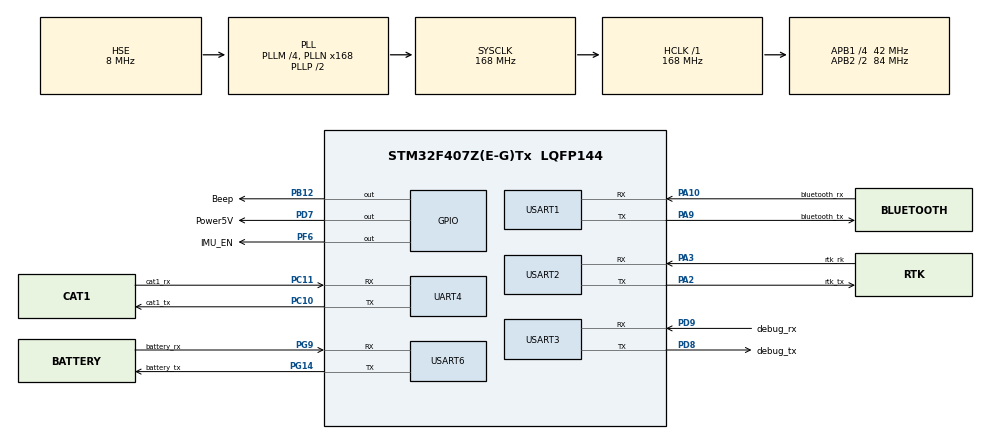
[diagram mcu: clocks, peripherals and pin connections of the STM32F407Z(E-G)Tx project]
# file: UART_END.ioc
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Mcu.Family=STM32F4
Mcu.Name=STM32F407Z(E-G)Tx
Mcu.Package=LQFP144
NVIC.PriorityGroup=NVIC_PRIORITYGROUP_4
NVIC.UART4_IRQn=true\:2\:0\:true\:false\:true\:true\:true\:true
NVIC.USART1_IRQn=true\:1\:0\:true\:false\:true\:true\:true\:true
NVIC.USART2_IRQn=true\:3\:0\:true\:false\:true\:true\:true\:true
NVIC.USART3_IRQn=true\:10\:0\:true\:false\:true\:true\:true\:true
NVIC.USART6_IRQn=true\:4\:0\:true\:false\:true\:true\:true\:true
PA10.GPIO_Label=bluetooth_rx
PA10.Mode=Asynchronous
PA10.Signal=USART1_RX
PA13.Mode=Serial_Wire
PA13.Signal=SYS_JTMS-SWDIO
PA14.Mode=Serial_Wire
PA14.Signal=SYS_JTCK-SWCLK
PA2.GPIO_Label=rtk_tx
PA2.Mode=Asynchronous
PA2.Signal=USART2_TX
PA3.GPIO_Label=rtk_rk
PA3.Mode=Asynchronous
PA3.Signal=USART2_RX
PA9.GPIO_Label=bluetooth_tx
PA9.Mode=Asynchronous
PA9.Signal=USART1_TX
PB12.GPIO_Label=Beep
PB12.Signal=GPIO_Output
PC10.GPIO_Label=cat1_tx
PC10.Mode=Asynchronous
PC10.Signal=UART4_TX
PC11.GPIO_Label=cat1_rx
PC11.Mode=Asynchronous
PC11.Signal=UART4_RX
PC14-OSC32_IN.Mode=LSE-External-Oscillator
PC14-OSC32_IN.Signal=RCC_OSC32_IN
PC15-OSC32_OUT.Mode=LSE-External-Oscillator
PC15-OSC32_OUT.Signal=RCC_OSC32_OUT
PD7.GPIO_Label=Power5V
PD7.Signal=GPIO_Output
PD8.GPIO_Label=debug_tx
PD8.Mode=Asynchronous
PD8.Signal=USART3_TX
PD9.GPIO_Label=debug_rx
PD9.Mode=Asynchronous
PD9.Signal=USART3_RX
PF6.GPIO_Label=IMU_EN
PF6.Signal=GPIO_Output
PG14.GPIO_Label=battery_tx
PG14.Mode=Asynchronous
PG14.Signal=USART6_TX
PG9.GPIO_Label=battery_rx
PG9.Mode=Asynchronous
PG9.Signal=USART6_RX
PH0-OSC_IN.Mode=HSE-External-Oscillator
PH0-OSC_IN.Signal=RCC_OSC_IN
PH1-OSC_OUT.Mode=HSE-External-Oscillator
PH1-OSC_OUT.Signal=RCC_OSC_OUT
ProjectManager.HeapSize=0x200
ProjectManager.StackSize=0x2000
ProjectManager.TargetToolchain=STM32CubeIDE
RCC.48MHZClocksFreq_Value=84000000
RCC.AHBFreq_Value=168000000
RCC.APB1CLKDivider=RCC_HCLK_DIV4
RCC.APB1Freq_Value=42000000
RCC.APB1TimFreq_Value=84000000
RCC.APB2CLKDivider=RCC_HCLK_DIV2
RCC.APB2Freq_Value=84000000
RCC.APB2TimFreq_Value=168000000
RCC.CortexFreq_Value=168000000
RCC.HCLKFreq_Value=168000000
RCC.HSE_VALUE=8000000
RCC.HSI_VALUE=16000000
RCC.PLLM=4
RCC.PLLN=168
RCC.PLLSourceVirtual=RCC_PLLSOURCE_HSE
RCC.SYSCLKFreq_VALUE=168000000
RCC.SYSCLKSource=RCC_SYSCLKSOURCE_PLLCLK
RCC.VCOOutputFreq_Value=336000000
UART4.VirtualMode=Asynchronous
USART1.VirtualMode=VM_ASYNC
USART2.VirtualMode=VM_ASYNC
USART3.VirtualMode=VM_ASYNC
USART6.VirtualMode=VM_ASYNC
board=custom

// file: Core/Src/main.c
/* USER CODE BEGIN Header */
/**
  ******************************************************************************
  * @file           : main.c
  * @brief          : Main program body
  ******************************************************************************
  * @attention
  *
  * Copyright (c) 2023 STMicroelectronics.
  * All rights reserved.
  *
  * This software is licensed under terms that can be found in the LICENSE file
  * in the root directory of this software component.
  * If no LICENSE file comes with this software, it is provided AS-IS.
  *
  ******************************************************************************
  */
/* USER CODE END Header */
#include "main.h"
#include "usart.h"
#include "gpio.h"

/* USER CODE BEGIN Includes */

#include "../../User/uart/uart.h"

/* USER CODE END Includes */

void SystemClock_Config(void);

int main(void)
{

  /* MCU Configuration--------------------------------------------------------*/

  /* Reset of all peripherals, Initializes the Flash interface and the Systick. */
  HAL_Init();

  /* Configure the system clock */
  SystemClock_Config();

  /* Initialize all configured peripherals */
  MX_GPIO_Init();
  MX_UART4_Init();
  MX_USART1_UART_Init();
  MX_USART2_UART_Init();
  MX_USART3_UART_Init();
  MX_USART6_UART_Init();
  /* USER CODE BEGIN 2 */

  HAL_GPIO_WritePin(IMU_EN_GPIO_Port, IMU_EN_Pin, GPIO_PIN_SET);
  HAL_GPIO_WritePin(Power5V_GPIO_Port, Power5V_Pin, GPIO_PIN_SET);

  driver_uart_init();

  debug_printf("OK\r\n");
  /* USER CODE END 2 */

  /* Infinite loop */
  while (1)
  {

    /* USER CODE BEGIN 3 */

	  if(ble.rx_finish == true)
	  {
		  fifo_read(ble.rx_fifo, ble.rx_buff, ble.rx_count);
		  ble_printf("%s",ble.rx_buff);
		  driver_uart_rx_clear(&ble);
	  }
	  else if(rtk.rx_finish == true)
	  {
		  fifo_read(rtk.rx_fifo, rtk.rx_buff, rtk.rx_count);
		  rtk_printf("%s",rtk.rx_buff);
		  driver_uart_rx_clear(&rtk);
	  }
	  else if(debug.rx_finish == true)
	  {
		  fifo_read(debug.rx_fifo, debug.rx_buff, debug.rx_count);
		  debug_printf("%s",debug.rx_buff);
		  driver_uart_rx_clear(&debug);
	  }
	  else if(net.rx_finish == true)
	  {
		  fifo_read(net.rx_fifo, net.rx_buff, net.rx_count);
		  net_printf("%s",net.rx_buff);
		  driver_uart_rx_clear(&net);
	  }

	  else if(bat.rx_finish == true)
	  {
		  fifo_read(bat.rx_fifo, bat.rx_buff, bat.rx_count);
		  bat_printf("%s",bat.rx_buff);
		  driver_uart_rx_clear(&bat);
	  }
  }
  /* USER CODE END 3 */
}

void SystemClock_Config(void)
{
  RCC_OscInitTypeDef RCC_OscInitStruct = {0};
  RCC_ClkInitTypeDef RCC_ClkInitStruct = {0};

  /** Configure the main internal regulator output voltage
  */
  __HAL_RCC_PWR_CLK_ENABLE();
  __HAL_PWR_VOLTAGESCALING_CONFIG(PWR_REGULATOR_VOLTAGE_SCALE1);

  /** Initializes the RCC Oscillators according to the specified parameters
  * in the RCC_OscInitTypeDef structure.
  */
  RCC_OscInitStruct.OscillatorType = RCC_OSCILLATORTYPE_HSE;
  RCC_OscInitStruct.HSEState = RCC_HSE_ON;
  RCC_OscInitStruct.PLL.PLLState = RCC_PLL_ON;
  RCC_OscInitStruct.PLL.PLLSource = RCC_PLLSOURCE_HSE;
  RCC_OscInitStruct.PLL.PLLM = 4;
  RCC_OscInitStruct.PLL.PLLN = 168;
  RCC_OscInitStruct.PLL.PLLP = RCC_PLLP_DIV2;
  RCC_OscInitStruct.PLL.PLLQ = 4;
  if (HAL_RCC_OscConfig(&RCC_OscInitStruct) != HAL_OK)
  {
    Error_Handler();
  }

  /** Initializes the CPU, AHB and APB buses clocks
  */
  RCC_ClkInitStruct.ClockType = RCC_CLOCKTYPE_HCLK|RCC_CLOCKTYPE_SYSCLK
                              |RCC_CLOCKTYPE_PCLK1|RCC_CLOCKTYPE_PCLK2;
  RCC_ClkInitStruct.SYSCLKSource = RCC_SYSCLKSOURCE_PLLCLK;
  RCC_ClkInitStruct.AHBCLKDivider = RCC_SYSCLK_DIV1;
  RCC_ClkInitStruct.APB1CLKDivider = RCC_HCLK_DIV4;
  RCC_ClkInitStruct.APB2CLKDivider = RCC_HCLK_DIV2;

  if (HAL_RCC_ClockConfig(&RCC_ClkInitStruct, FLASH_LATENCY_5) != HAL_OK)
  {
    Error_Handler();
  }
}

void Error_Handler(void)
{
  __disable_irq();
  while (1)
  {
  }
}
